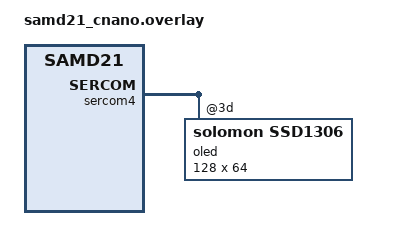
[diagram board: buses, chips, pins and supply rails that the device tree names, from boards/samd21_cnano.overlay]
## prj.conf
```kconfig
# Explorer I2C bus (VCNL4200 light sensor and OLED)
CONFIG_I2C=y

# OLED text and drawing through the character framebuffer
CONFIG_DISPLAY=y
CONFIG_CHARACTER_FRAMEBUFFER=y
# The character framebuffer allocates its 1 KiB frame buffer from the heap
CONFIG_HEAP_MEM_POOL_SIZE=2048
```

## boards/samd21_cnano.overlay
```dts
/* SPDX-License-Identifier: Apache-2.0 */

/*
 * Curiosity Nano Explorer ambient light demo for the SAM D21 Curiosity Nano.
 *
 * Explorer I2C bus -> SAMD21 PA12 (SDA) / PA13 (SCL), SERCOM4
 *   - VCNL4200 light sensor @ 0x51 (no Zephyr driver, read directly in main.c)
 *   - OLED (SSD1306, 128x64) @ 0x3D
 *
 * The board already enables SERCOM4 as a 400 kHz I2C controller, so this
 * overlay only adds the OLED.
 */

/ {
	chosen {
		zephyr,display = &oled;
	};
};

&sercom4 {
	oled: ssd1306@3d {
		compatible = "solomon,ssd1306";
		reg = <0x3d>;
		width = <128>;
		height = <64>;
		segment-offset = <0>;
		page-offset = <0>;
		display-offset = <0>;
		multiplex-ratio = <63>;
		segment-remap;
		com-invdir;
		prechargep = <0x22>;
	};
};
```

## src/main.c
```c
/* SPDX-License-Identifier: Apache-2.0 */

/*
 * Curiosity Nano Explorer ambient light demo.
 *
 * Reads the ambient light channel of the Explorer's VCNL4200 proximity and
 * ambient light sensor twice a second and shows the result on the OLED:
 * the light level in lux, the raw sensor count, and a bar graph.
 *
 * Zephyr has no VCNL4200 driver, so the sensor is read directly over I2C.
 * It shares the Explorer I2C bus with the OLED, so the I2C controller is
 * taken from the OLED's parent devicetree node.
 */

#include <stdio.h>

#include <zephyr/kernel.h>
#include <zephyr/device.h>
#include <zephyr/devicetree.h>
#include <zephyr/display/cfb.h>
#include <zephyr/drivers/display.h>
#include <zephyr/drivers/i2c.h>
#include <zephyr/sys/byteorder.h>
#include <zephyr/sys/printk.h>

/* VCNL4200 (Vishay), 7-bit I2C address 0x51 on the Explorer */
#define VCNL4200_ADDR      0x51
/* 16-bit registers, sent and received low byte first */
#define VCNL4200_ALS_CONF  0x00
#define VCNL4200_ALS_DATA  0x09
#define VCNL4200_ID        0x0E
#define VCNL4200_ID_VALUE  0x1058U
/* ALS_CONF = 0: sensor on, 50 ms integration time, interrupts off */
#define VCNL4200_ALS_ON    0x0000U
/* At 50 ms integration time one count is 0.024 lux, so 24 millilux */
#define MILLILUX_PER_COUNT 24U

/* Light level that fills the bar graph on the OLED */
#define BAR_FULL_SCALE_LUX 1000U

#define UPDATE_PERIOD K_MSEC(500)

static int vcnl4200_read(const struct device *i2c, uint8_t reg, uint16_t *value)
{
	uint8_t data[2];
	int ret;

	ret = i2c_write_read(i2c, VCNL4200_ADDR, &reg, sizeof(reg), data, sizeof(data));
	if (ret == 0) {
		*value = sys_get_le16(data);
	}

	return ret;
}

static int vcnl4200_write(const struct device *i2c, uint8_t reg, uint16_t value)
{
	uint8_t data[3] = {reg, value & 0xFFU, value >> 8};

	return i2c_write(i2c, data, sizeof(data), VCNL4200_ADDR);
}

static int vcnl4200_init(const struct device *i2c)
{
	uint16_t id;
	int ret;

	ret = vcnl4200_read(i2c, VCNL4200_ID, &id);
	if (ret != 0) {
		printk("VCNL4200 not responding at 0x%02x (%d)\n", VCNL4200_ADDR, ret);
		return ret;
	}

	if (id != VCNL4200_ID_VALUE) {
		printk("Unexpected VCNL4200 ID 0x%04x\n", id);
		return -ENODEV;
	}

	/* The ambient light channel is shut down after power-up */
	return vcnl4200_write(i2c, VCNL4200_ALS_CONF, VCNL4200_ALS_ON);
}

static void show_reading(const struct device *display, uint16_t raw, uint32_t millilux)
{
	uint16_t width = cfb_get_display_parameter(display, CFB_DISPLAY_WIDTH);
	uint16_t height = cfb_get_display_parameter(display, CFB_DISPLAY_HEIGHT);
	uint8_t font_width;
	uint8_t font_height;
	char line[16];

	cfb_get_font_size(display, 0, &font_width, &font_height);
	cfb_framebuffer_clear(display, false);

	cfb_print(display, "LIGHT SENSOR", 0, 0);

	snprintf(line, sizeof(line), "%u.%u lux", millilux / 1000U, (millilux % 1000U) / 100U);
	cfb_print(display, line, 0, font_height);

	snprintf(line, sizeof(line), "raw %u", raw);
	cfb_print(display, line, 0, 2 * font_height);

	/* Bar graph in the space below the text */
	struct cfb_position start = {.x = 0, .y = 3 * font_height + 2};
	struct cfb_position end = {.x = width - 1, .y = height - 1};
	uint32_t lux = MIN(millilux / 1000U, BAR_FULL_SCALE_LUX);
	uint16_t fill = (uint16_t)(((width - 4U) * lux) / BAR_FULL_SCALE_LUX);

	cfb_draw_rect(display, &start, &end);
	if (fill > 0U) {
		cfb_invert_area(display, start.x + 2, start.y + 2, fill, end.y - start.y - 3);
	}

	cfb_framebuffer_finalize(display);
}

int main(void)
{
	const struct device *const display = DEVICE_DT_GET(DT_CHOSEN(zephyr_display));
	const struct device *const i2c = DEVICE_DT_GET(DT_BUS(DT_CHOSEN(zephyr_display)));
	int ret;

	printk("Explorer ambient light demo\n");

	if (!device_is_ready(i2c)) {
		printk("I2C bus %s not ready\n", i2c->name);
		return 0;
	}

	if (!device_is_ready(display)) {
		printk("OLED not ready (check I2C address 0x3D)\n");
		return 0;
	}

	ret = cfb_framebuffer_init(display);
	if (ret != 0) {
		printk("Framebuffer init failed (%d)\n", ret);
		return 0;
	}
	display_blanking_off(display);

	ret = vcnl4200_init(i2c);
	if (ret != 0) {
		cfb_framebuffer_clear(display, false);
		cfb_print(display, "NO SENSOR", 0, 0);
		cfb_framebuffer_finalize(display);
		return 0;
	}

	while (true) {
		uint16_t raw;

		/* The first reading is ready one integration time after power-on */
		k_sleep(UPDATE_PERIOD);

		ret = vcnl4200_read(i2c, VCNL4200_ALS_DATA, &raw);
		if (ret != 0) {
			printk("VCNL4200 read failed (%d)\n", ret);
			continue;
		}

		uint32_t millilux = (uint32_t)raw * MILLILUX_PER_COUNT;

		printk("raw %u, %u.%u lux\n", raw, millilux / 1000U, (millilux % 1000U) / 100U);
		show_reading(display, raw, millilux);
	}

	return 0;
}
```
